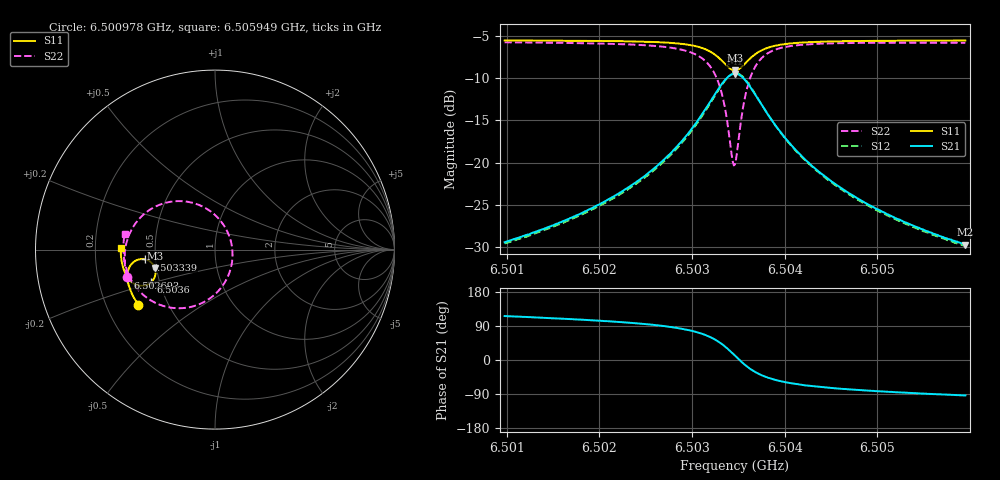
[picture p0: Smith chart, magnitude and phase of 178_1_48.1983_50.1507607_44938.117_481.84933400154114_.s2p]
#  HZ  S  RI  R  50.00
! Rohde & Schwarz Vector Network Analyzer
! Rohde-Schwarz,ZNB20-2Port,1311601062101988,3.16
! Created: UTC 3/20/2024, 11:44:00 AM
! freq[Hz]  re:S11  im:S11  re:S21  im:S21  re:S12  im:S12  re:S22  im:S22
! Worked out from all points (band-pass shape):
!   401 points, 6.500978 GHz to 6.505949 GHz, reference 50 ohm
!   highest |S21| = -9.49 dB at 6.503464 GHz (marker M1); lowest = -29.7 dB at 6.505949 GHz (marker M2)
!   |S21| within 3 dB of the highest: 6.503215 GHz to 6.503712 GHz (497.1 kHz wide, 0.00764 % of centre)
!   lowest |S11| = -9.1 dB at 6.503464 GHz (marker M3), VSWR 2.08, Z = 24.5 - j5.87 ohm
!   |S11| at or under -10 dB: nowhere
!   |S22| runs from -20.3 to -5.8 dB; largest |S21 - S12| = 0.012
!   S11 on the Smith chart (normalised r, x): 6.500978 GHz: 0.34, -0.29; 6.502693 GHz: 0.33, -0.14; 6.503339 GHz: 0.44, -0.06; 6.5036 GHz: 0.45, -0.19; 6.505949 GHz: 0.31, +0.01
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6.5009784e9  -0.4275 -0.3074  -0.0148 0.0305  -0.0132 0.0306  -0.4908 -0.1513
6.5018109e9  -0.4631 -0.2455  -0.0142 0.0484  -0.0118 0.0481  -0.5034 -0.0622
6.5022707e9  -0.4791 -0.2044  -0.0112 0.0682  -0.00811 0.0669  -0.4999 0.00381
6.5026434e9  -0.4877 -0.1629  -0.00188 0.0979  0.0018 0.0956  -0.4796 0.0795
6.5026931e9  -0.4882 -0.1563  0.000608 0.1036  0.00436 0.1009  -0.4743 0.0921
6.5029541e9  -0.4838 -0.1151  0.0271 0.1452  0.0309 0.1406  -0.419 0.1753
6.5031405e9  -0.4619 -0.0768  0.0824 0.1877  0.0847 0.1814  -0.3132 0.2481
6.5032523e9  -0.4286 -0.0562  0.1528 0.2053  0.1535 0.1989  -0.1863 0.27
6.5033393e9  -0.3873 -0.0549  0.2336 0.1882  0.2339 0.1832  -0.0468 0.2277
6.5034263e9  -0.345 -0.0835  0.3112 0.1143  0.3136 0.1097  0.0769 0.0821
6.5034511e9  -0.3371 -0.0976  0.3245 0.0827  0.3276 0.0775  0.0936 0.0225
6.5034635e9  -0.3343 -0.1052  0.3288 0.0661  0.3321 0.0602  0.0973 -0.00861
6.5034884e9  -0.3314 -0.1213  0.3322 0.0318  0.3358 0.0248  0.0948 -0.0713
6.5035257e9  -0.3336 -0.1451  0.3249 -0.018  0.3281 -0.0271  0.0676 -0.1593
6.5036002e9  -0.3556 -0.1815  0.2788 -0.0935  0.2783 -0.105  -0.0415 -0.2805
6.503712e9  -0.4008 -0.2012  0.1927 -0.1383  0.1873 -0.148  -0.2156 -0.3264
6.5038736e9  -0.4474 -0.1916  0.1098 -0.1347  0.1025 -0.1399  -0.3651 -0.2783
6.5040475e9  -0.4752 -0.1702  0.0648 -0.1141  0.0583 -0.1164  -0.438 -0.2123
6.504296e9  -0.4959 -0.1403  0.0342 -0.0891  0.0295 -0.0898  -0.4817 -0.1392
6.5046812e9  -0.512 -0.1  0.0147 -0.0649  0.0113 -0.0646  -0.5047 -0.0618
6.5051286e9  -0.5209 -0.0583  0.00516 -0.0488  0.00273 -0.048  -0.5105 0.00197
6.5059486e9  -0.5259 0.0111  -0.00203 -0.0327  -0.00337 -0.032  -0.5027 0.0896
